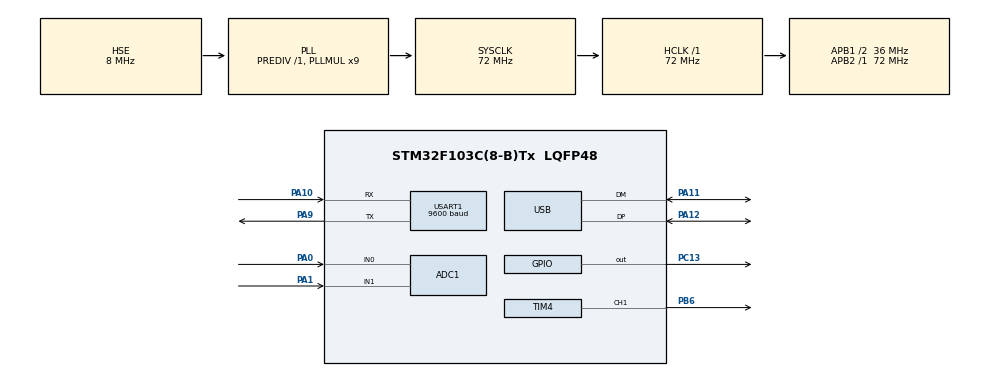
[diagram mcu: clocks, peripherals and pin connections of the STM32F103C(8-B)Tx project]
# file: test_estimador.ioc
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Mcu.Family=STM32F1
RCC.PLLSourceVirtual=RCC_PLLSOURCE_HSE
TIM4.Channel-PWM\ Generation1\ CH1=TIM_CHANNEL_1
NVIC.ADC1_2_IRQn=true\:0\:0\:false\:false\:true\:true\:true
USB_DEVICE.CLASS_NAME_FS=CDC
ADC1.Rank-0\#ChannelRegularConversion=1
Dma.ADC1.1.MemDataAlignment=DMA_MDATAALIGN_HALFWORD
NVIC.DMA1_Channel5_IRQn=true\:0\:0\:false\:false\:true\:false\:true
Dma.USART1_RX.0.PeriphDataAlignment=DMA_PDATAALIGN_BYTE
PD1-OSC_OUT.Mode=HSE-External-Oscillator
PA10.Mode=Asynchronous
USB_DEVICE.VirtualModeFS=Cdc_FS
USART1.BaudRate=9600
PC13-TAMPER-RTC.Signal=GPIO_Output
RCC.USBPrescaler=RCC_USBCLKSOURCE_PLL_DIV1_5
PA11.Mode=Device
PD0-OSC_IN.Signal=RCC_OSC_IN
RCC.APB1CLKDivider=RCC_HCLK_DIV2
RCC.SYSCLKSource=RCC_SYSCLKSOURCE_PLLCLK
ProjectManager.StackSize=0x400
PA0-WKUP.Signal=ADCx_IN0
PD1-OSC_OUT.Signal=RCC_OSC_OUT
RCC.ADCPresc=RCC_ADCPCLK2_DIV6
PA13.Signal=SYS_JTMS-SWDIO
PA9.Mode=Asynchronous
PA12.Signal=USB_DP
ProjectManager.TargetToolchain=STM32CubeIDE
Dma.ADC1.1.Instance=DMA1_Channel1
Dma.USART1_RX.0.Direction=DMA_PERIPH_TO_MEMORY
RCC.HCLKFreq_Value=72000000
VP_USB_DEVICE_VS_USB_DEVICE_CDC_FS.Mode=CDC_FS
RCC.APB2TimFreq_Value=72000000
TIM3.Period=1000 - 1
TIM4.Pulse-PWM\ Generation1\ CH1=50
PA9.Signal=USART1_TX
PB6.Signal=S_TIM4_CH1
ADC1.Channel-1\#ChannelRegularConversion=ADC_CHANNEL_1
Dma.ADC1.1.PeriphDataAlignment=DMA_PDATAALIGN_HALFWORD
RCC.USBFreq_Value=48000000
TIM4.Prescaler=20 - 1
PA1.Signal=ADCx_IN1
RCC.AHBFreq_Value=72000000
Dma.USART1_RX.0.PeriphInc=DMA_PINC_DISABLE
Dma.USART1_RX.0.Priority=DMA_PRIORITY_LOW
PD0-OSC_IN.Mode=HSE-External-Oscillator
ADC1.Channel-0\#ChannelRegularConversion=ADC_CHANNEL_0
board=custom
RCC.PLLMUL=RCC_PLL_MUL9
RCC.APB2Freq_Value=72000000
PA14.Mode=Serial_Wire
TIM3.Prescaler=7200 - 1
NVIC.USB_LP_CAN1_RX0_IRQn=true\:0\:0\:false\:false\:true\:false\:true
Dma.ADC1.1.Priority=DMA_PRIORITY_LOW
Dma.USART1_RX.0.MemDataAlignment=DMA_MDATAALIGN_BYTE
Dma.ADC1.1.Mode=DMA_CIRCULAR
SH.ADCx_IN0.0=ADC1_IN0,IN0
Dma.ADC1.1.PeriphInc=DMA_PINC_DISABLE
TIM4.Period=100 - 1
ADC1.NbrOfConversion=2
Dma.USART1_RX.0.MemInc=DMA_MINC_ENABLE
PA13.Mode=Serial_Wire
Mcu.Name=STM32F103C(8-B)Tx
ADC1.SamplingTime-0\#ChannelRegularConversion=ADC_SAMPLETIME_13CYCLES_5
ADC1.ExternalTrigConv=ADC_EXTERNALTRIGCONV_T3_TRGO
ADC1.SamplingTime-1\#ChannelRegularConversion=ADC_SAMPLETIME_13CYCLES_5
RCC.SYSCLKFreq_VALUE=72000000
Mcu.Package=LQFP48
ADC1.master=1
PA12.Mode=Device
Dma.ADC1.1.Direction=DMA_PERIPH_TO_MEMORY
USART1.VirtualMode=VM_ASYNC
ADC1.Rank-1\#ChannelRegularConversion=2
PA11.Signal=USB_DM
Dma.ADC1.1.MemInc=DMA_MINC_ENABLE
PA10.Signal=USART1_RX
PA14.Signal=SYS_JTCK-SWCLK
ProjectManager.HeapSize=0x200
VP_TIM4_VS_ClockSourceINT.Mode=Internal
NVIC.PriorityGroup=NVIC_PRIORITYGROUP_4
ADC1.NbrOfConversionFlag=1
SH.ADCx_IN1.0=ADC1_IN1,IN1
SH.S_TIM4_CH1.0=TIM4_CH1,PWM Generation1 CH1
Dma.Request1=ADC1
RCC.APB1TimFreq_Value=72000000
Dma.USART1_RX.0.Mode=DMA_CIRCULAR
NVIC.DMA1_Channel1_IRQn=true\:0\:0\:false\:false\:true\:false\:true
TIM3.TIM_MasterOutputTrigger=TIM_TRGO_UPDATE
NVIC.USART1_IRQn=true\:0\:0\:false\:false\:true\:true\:true
Dma.Request0=USART1_RX
RCC.APB1Freq_Value=36000000
USB_DEVICE.VirtualMode=Cdc
Dma.USART1_RX.0.Instance=DMA1_Channel5
VP_TIM3_VS_ClockSourceINT.Mode=Internal

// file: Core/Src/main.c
/* USER CODE BEGIN Header */
/**
  ******************************************************************************
  * @file           : main.c
  * @brief          : Main program body
  ******************************************************************************
  * @attention
  *
  * <h2><center>&copy; Copyright (c) 2021 STMicroelectronics.
  * All rights reserved.</center></h2>
  *
  * This software component is licensed by ST under Ultimate Liberty license
  * SLA0044, the "License"; You may not use this file except in compliance with
  * the License. You may obtain a copy of the License at:
  *                             www.st.com/SLA0044
  *
  ******************************************************************************
  */
/* USER CODE END Header */
#include "main.h"
#include "usb_device.h"

/* USER CODE BEGIN Includes */
#include "triangular.h"
#include <stdio.h>
#include <string.h>
/* USER CODE END Includes */

ADC_HandleTypeDef hadc1;
DMA_HandleTypeDef hdma_adc1;

TIM_HandleTypeDef htim3;
TIM_HandleTypeDef htim4;

UART_HandleTypeDef huart1;
DMA_HandleTypeDef hdma_usart1_rx;

void SystemClock_Config(void);
static void MX_GPIO_Init(void);
static void MX_DMA_Init(void);
static void MX_TIM3_Init(void);
static void MX_USART1_UART_Init(void);
static void MX_ADC1_Init(void);
static void MX_TIM4_Init(void);
/* USER CODE BEGIN PFP */
float estimar(float actual, float anterior);
/* USER CODE END PFP */

/* USER CODE BEGIN 0 */
uint32_t sampleFreq = 100;
float derivada[25];

/* USER CODE END 0 */

int main(void)
{

  /* MCU Configuration--------------------------------------------------------*/

  /* Reset of all peripherals, Initializes the Flash interface and the Systick. */
  HAL_Init();

  /* Configure the system clock */
  SystemClock_Config();

  /* Initialize all configured peripherals */
  MX_GPIO_Init();
  MX_DMA_Init();
  MX_TIM3_Init();
  MX_USART1_UART_Init();
  MX_ADC1_Init();
  MX_USB_DEVICE_Init();
  MX_TIM4_Init();
  /* USER CODE BEGIN 2 */

  for(int i = 1; i < 40; i = i + 2){
	  derivada[(i - 1) / 2] = estimar(triangular[i], triangular[i-1]);
  }
  char str[20];
  /* USER CODE END 2 */

  /* Infinite loop */
  while (1)
  {

    /* USER CODE BEGIN 3 */
	  for(int i = 0; i<20; i++){

	  sprintf(str, "%5.2f\r\n", derivada[i]);
	  HAL_UART_Transmit(&huart1, (uint8_t*) str, strlen(str), 100);
	  }
	  HAL_GPIO_TogglePin(GPIOC, GPIO_PIN_13);
	  HAL_Delay(3000);

  }
  /* USER CODE END 3 */
}

void SystemClock_Config(void)
{
  RCC_OscInitTypeDef RCC_OscInitStruct = {0};
  RCC_ClkInitTypeDef RCC_ClkInitStruct = {0};
  RCC_PeriphCLKInitTypeDef PeriphClkInit = {0};

  /** Initializes the RCC Oscillators according to the specified parameters
  * in the RCC_OscInitTypeDef structure.
  */
  RCC_OscInitStruct.OscillatorType = RCC_OSCILLATORTYPE_HSE;
  RCC_OscInitStruct.HSEState = RCC_HSE_ON;
  RCC_OscInitStruct.HSEPredivValue = RCC_HSE_PREDIV_DIV1;
  RCC_OscInitStruct.HSIState = RCC_HSI_ON;
  RCC_OscInitStruct.PLL.PLLState = RCC_PLL_ON;
  RCC_OscInitStruct.PLL.PLLSource = RCC_PLLSOURCE_HSE;
  RCC_OscInitStruct.PLL.PLLMUL = RCC_PLL_MUL9;
  if (HAL_RCC_OscConfig(&RCC_OscInitStruct) != HAL_OK)
  {
    Error_Handler();
  }
  /** Initializes the CPU, AHB and APB buses clocks
  */
  RCC_ClkInitStruct.ClockType = RCC_CLOCKTYPE_HCLK|RCC_CLOCKTYPE_SYSCLK
                              |RCC_CLOCKTYPE_PCLK1|RCC_CLOCKTYPE_PCLK2;
  RCC_ClkInitStruct.SYSCLKSource = RCC_SYSCLKSOURCE_PLLCLK;
  RCC_ClkInitStruct.AHBCLKDivider = RCC_SYSCLK_DIV1;
  RCC_ClkInitStruct.APB1CLKDivider = RCC_HCLK_DIV2;
  RCC_ClkInitStruct.APB2CLKDivider = RCC_HCLK_DIV1;

  if (HAL_RCC_ClockConfig(&RCC_ClkInitStruct, FLASH_LATENCY_2) != HAL_OK)
  {
    Error_Handler();
  }
  PeriphClkInit.PeriphClockSelection = RCC_PERIPHCLK_ADC|RCC_PERIPHCLK_USB;
  PeriphClkInit.AdcClockSelection = RCC_ADCPCLK2_DIV6;
  PeriphClkInit.UsbClockSelection = RCC_USBCLKSOURCE_PLL_DIV1_5;
  if (HAL_RCCEx_PeriphCLKConfig(&PeriphClkInit) != HAL_OK)
  {
    Error_Handler();
  }
}

static void MX_ADC1_Init(void)
{

  ADC_ChannelConfTypeDef sConfig = {0};

  /** Common config
  */
  hadc1.Instance = ADC1;
  hadc1.Init.ScanConvMode = ADC_SCAN_ENABLE;
  hadc1.Init.ContinuousConvMode = DISABLE;
  hadc1.Init.DiscontinuousConvMode = DISABLE;
  hadc1.Init.ExternalTrigConv = ADC_EXTERNALTRIGCONV_T3_TRGO;
  hadc1.Init.DataAlign = ADC_DATAALIGN_RIGHT;
  hadc1.Init.NbrOfConversion = 2;
  if (HAL_ADC_Init(&hadc1) != HAL_OK)
  {
    Error_Handler();
  }
  /** Configure Regular Channel
  */
  sConfig.Channel = ADC_CHANNEL_0;
  sConfig.Rank = ADC_REGULAR_RANK_1;
  sConfig.SamplingTime = ADC_SAMPLETIME_13CYCLES_5;
  if (HAL_ADC_ConfigChannel(&hadc1, &sConfig) != HAL_OK)
  {
    Error_Handler();
  }
  /** Configure Regular Channel
  */
  sConfig.Channel = ADC_CHANNEL_1;
  sConfig.Rank = ADC_REGULAR_RANK_2;
  if (HAL_ADC_ConfigChannel(&hadc1, &sConfig) != HAL_OK)
  {
    Error_Handler();
  }

}

static void MX_TIM3_Init(void)
{

  TIM_ClockConfigTypeDef sClockSourceConfig = {0};
  TIM_MasterConfigTypeDef sMasterConfig = {0};

  htim3.Instance = TIM3;
  htim3.Init.Prescaler = 7200 - 1;
  htim3.Init.CounterMode = TIM_COUNTERMODE_UP;
  htim3.Init.Period = 1000 - 1;
  htim3.Init.ClockDivision = TIM_CLOCKDIVISION_DIV1;
  htim3.Init.AutoReloadPreload = TIM_AUTORELOAD_PRELOAD_DISABLE;
  if (HAL_TIM_Base_Init(&htim3) != HAL_OK)
  {
    Error_Handler();
  }
  sClockSourceConfig.ClockSource = TIM_CLOCKSOURCE_INTERNAL;
  if (HAL_TIM_ConfigClockSource(&htim3, &sClockSourceConfig) != HAL_OK)
  {
    Error_Handler();
  }
  sMasterConfig.MasterOutputTrigger = TIM_TRGO_UPDATE;
  sMasterConfig.MasterSlaveMode = TIM_MASTERSLAVEMODE_DISABLE;
  if (HAL_TIMEx_MasterConfigSynchronization(&htim3, &sMasterConfig) != HAL_OK)
  {
    Error_Handler();
  }

}

static void MX_TIM4_Init(void)
{

  TIM_ClockConfigTypeDef sClockSourceConfig = {0};
  TIM_MasterConfigTypeDef sMasterConfig = {0};
  TIM_OC_InitTypeDef sConfigOC = {0};

  htim4.Instance = TIM4;
  htim4.Init.Prescaler = 20 - 1;
  htim4.Init.CounterMode = TIM_COUNTERMODE_UP;
  htim4.Init.Period = 100 - 1;
  htim4.Init.ClockDivision = TIM_CLOCKDIVISION_DIV1;
  htim4.Init.AutoReloadPreload = TIM_AUTORELOAD_PRELOAD_DISABLE;
  if (HAL_TIM_Base_Init(&htim4) != HAL_OK)
  {
    Error_Handler();
  }
  sClockSourceConfig.ClockSource = TIM_CLOCKSOURCE_INTERNAL;
  if (HAL_TIM_ConfigClockSource(&htim4, &sClockSourceConfig) != HAL_OK)
  {
    Error_Handler();
  }
  if (HAL_TIM_PWM_Init(&htim4) != HAL_OK)
  {
    Error_Handler();
  }
  sMasterConfig.MasterOutputTrigger = TIM_TRGO_RESET;
  sMasterConfig.MasterSlaveMode = TIM_MASTERSLAVEMODE_DISABLE;
  if (HAL_TIMEx_MasterConfigSynchronization(&htim4, &sMasterConfig) != HAL_OK)
  {
    Error_Handler();
  }
  sConfigOC.OCMode = TIM_OCMODE_PWM1;
  sConfigOC.Pulse = 50;
  sConfigOC.OCPolarity = TIM_OCPOLARITY_HIGH;
  sConfigOC.OCFastMode = TIM_OCFAST_DISABLE;
  if (HAL_TIM_PWM_ConfigChannel(&htim4, &sConfigOC, TIM_CHANNEL_1) != HAL_OK)
  {
    Error_Handler();
  }
  HAL_TIM_MspPostInit(&htim4);

}

static void MX_USART1_UART_Init(void)
{

  huart1.Instance = USART1;
  huart1.Init.BaudRate = 9600;
  huart1.Init.WordLength = UART_WORDLENGTH_8B;
  huart1.Init.StopBits = UART_STOPBITS_1;
  huart1.Init.Parity = UART_PARITY_NONE;
  huart1.Init.Mode = UART_MODE_TX_RX;
  huart1.Init.HwFlowCtl = UART_HWCONTROL_NONE;
  huart1.Init.OverSampling = UART_OVERSAMPLING_16;
  if (HAL_UART_Init(&huart1) != HAL_OK)
  {
    Error_Handler();
  }

}

static void MX_DMA_Init(void)
{

  /* DMA controller clock enable */
  __HAL_RCC_DMA1_CLK_ENABLE();

  /* DMA interrupt init */
  /* DMA1_Channel1_IRQn interrupt configuration */
  HAL_NVIC_SetPriority(DMA1_Channel1_IRQn, 0, 0);
  HAL_NVIC_EnableIRQ(DMA1_Channel1_IRQn);
  /* DMA1_Channel5_IRQn interrupt configuration */
  HAL_NVIC_SetPriority(DMA1_Channel5_IRQn, 0, 0);
  HAL_NVIC_EnableIRQ(DMA1_Channel5_IRQn);

}

static void MX_GPIO_Init(void)
{
  GPIO_InitTypeDef GPIO_InitStruct = {0};

  /* GPIO Ports Clock Enable */
  __HAL_RCC_GPIOC_CLK_ENABLE();
  __HAL_RCC_GPIOD_CLK_ENABLE();
  __HAL_RCC_GPIOA_CLK_ENABLE();
  __HAL_RCC_GPIOB_CLK_ENABLE();

  /*Configure GPIO pin Output Level */
  HAL_GPIO_WritePin(GPIOC, GPIO_PIN_13, GPIO_PIN_RESET);

  /*Configure GPIO pin : PC13 */
  GPIO_InitStruct.Pin = GPIO_PIN_13;
  GPIO_InitStruct.Mode = GPIO_MODE_OUTPUT_PP;
  GPIO_InitStruct.Pull = GPIO_NOPULL;
  GPIO_InitStruct.Speed = GPIO_SPEED_FREQ_LOW;
  HAL_GPIO_Init(GPIOC, &GPIO_InitStruct);

}

/* USER CODE BEGIN 4 */

float estimar(float actual, float anterior){
	float derivada = (actual - anterior) * sampleFreq;
	return derivada;
}

/* USER CODE END 4 */

void Error_Handler(void)
{
  __disable_irq();
  while (1)
  {
  }
}

/************************ (C) COPYRIGHT STMicroelectronics *****END OF FILE****/
